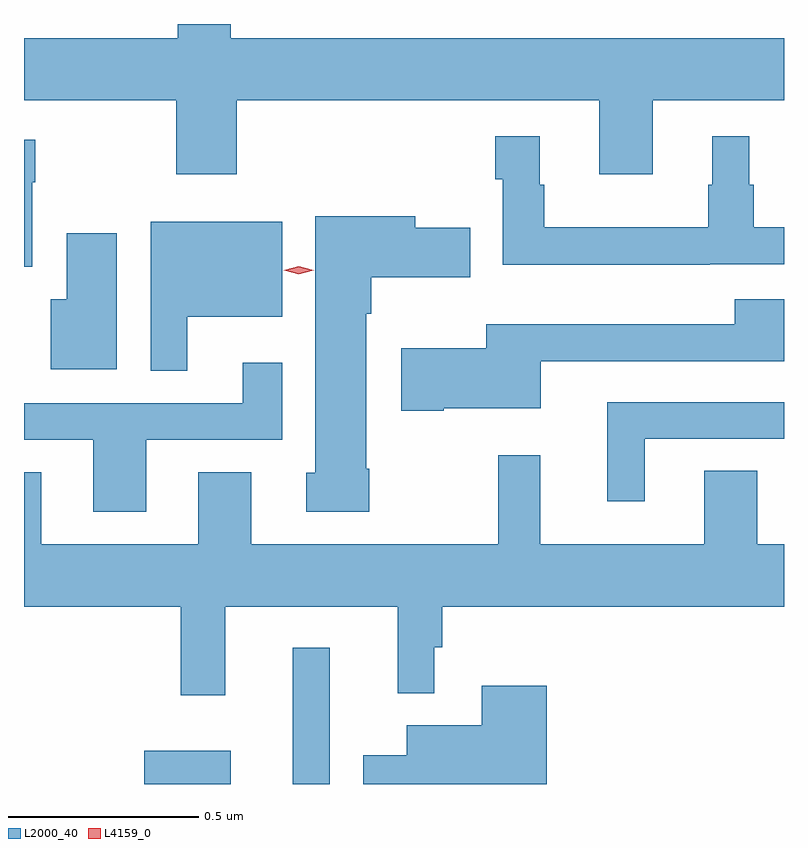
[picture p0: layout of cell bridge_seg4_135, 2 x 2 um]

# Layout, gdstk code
import gdstk
lib = gdstk.Library(unit=1e-6, precision=1e-09)
def R(c, l, rs):  # rectangles x0, y0, x1, y1
    for r in rs: c.add(gdstk.rectangle(r[:2], r[2:], *l))
def P(c, l, *ps):  # polygons
    for p in ps: c.add(gdstk.Polygon(p, *l))
L2000_40 = (2000, 40)
L4159_0 = (4159, 0)

bridge_seg4_135 = lib.new_cell('bridge_seg4_135')
R(bridge_seg4_135, L2000_40, [(240.38,779.037,240.607,779.125), (240.77,779.037,240.867,779.395)])
P(bridge_seg4_135, L2000_40, [(240.623,780.836),(241.577,780.836),(241.577,780.642),(241.717,780.642),(241.717,780.836),(242.063,780.836),(242.063,781),(240.607,781),(240.607,781.037),(240.467,781.037),(240.467,781),(240.063,781),(240.063,780.836),(240.463,780.836),(240.463,780.642),(240.623,780.642)],
  [(241.868,780.405),(242.063,780.405),(242.063,780.502),(241.984,780.502),(241.984,780.614),(241.972,780.614),(241.972,780.742),(241.874,780.742),(241.874,780.614),(241.863,780.614),(241.863,780.502),(241.432,780.502),(241.432,780.614),(241.42,780.614),(241.42,780.742),(241.303,780.742),(241.303,780.629),(241.323,780.629),(241.323,780.404),(241.868,780.404)],
  [(240.085,780.62),(240.093,780.62),(240.093,780.733),(240.063,780.733),(240.063,780.398),(240.085,780.398)],
  [(240.972,779.866),(240.964,779.866),(240.964,780.275),(240.977,780.275),(240.977,780.371),(241.237,780.371),(241.237,780.501),(241.093,780.501),(241.093,780.531),(240.83,780.531),(240.83,779.856),(240.806,779.856),(240.806,779.754),(240.972,779.754)],
  [(240.493,780.266),(240.742,780.266),(240.742,780.517),(240.396,780.517),(240.396,780.124),(240.493,780.124)],
  [(240.307,780.487),(240.176,780.487),(240.176,780.313),(240.134,780.313),(240.134,780.128),(240.307,780.128)],
  [(241.168,780.026),(241.423,780.026),(241.423,780.15),(242.038,780.15),(242.038,780.149),(242.063,780.149),(242.063,780.313),(241.934,780.313),(241.934,780.247),(241.28,780.247),(241.28,780.184),(241.056,780.184),(241.056,780.019),(241.168,780.019)],
  [(240.385,779.943),(240.742,779.943),(240.742,780.145),(240.638,780.145),(240.638,780.039),(240.063,780.039),(240.063,779.943),(240.245,779.943),(240.245,779.754),(240.385,779.754)],
  [(241.696,779.946),(242.063,779.946),(242.063,780.042),(241.598,780.042),(241.598,779.781),(241.696,779.781)],
  [(240.593,779.504),(241.046,779.504),(241.046,779.276),(241.143,779.276),(241.143,779.397),(241.163,779.397),(241.163,779.504),(242.063,779.504),(242.063,779.668),(241.993,779.668),(241.993,779.861),(241.853,779.861),(241.853,779.668),(241.421,779.668),(241.421,779.902),(241.311,779.902),(241.311,779.668),(240.661,779.668),(240.661,779.858),(240.521,779.858),(240.521,779.668),(240.109,779.668),(240.109,779.858),(240.063,779.858),(240.063,779.504),(240.475,779.504),(240.475,779.271),(240.593,779.271)],
  [(241.439,779.296),(241.268,779.296),(241.268,779.191),(241.07,779.191),(241.07,779.113),(240.956,779.113),(240.956,779.037),(241.439,779.037)])
P(bridge_seg4_135, L4159_0, [(240.786,780.379),(240.747,780.389),(240.747,780.389),(240.747,780.389),(240.786,780.399),(240.826,780.389),(240.826,780.389),(240.826,780.389)])

lib.write_gds('bridge_seg4_135.gds')
